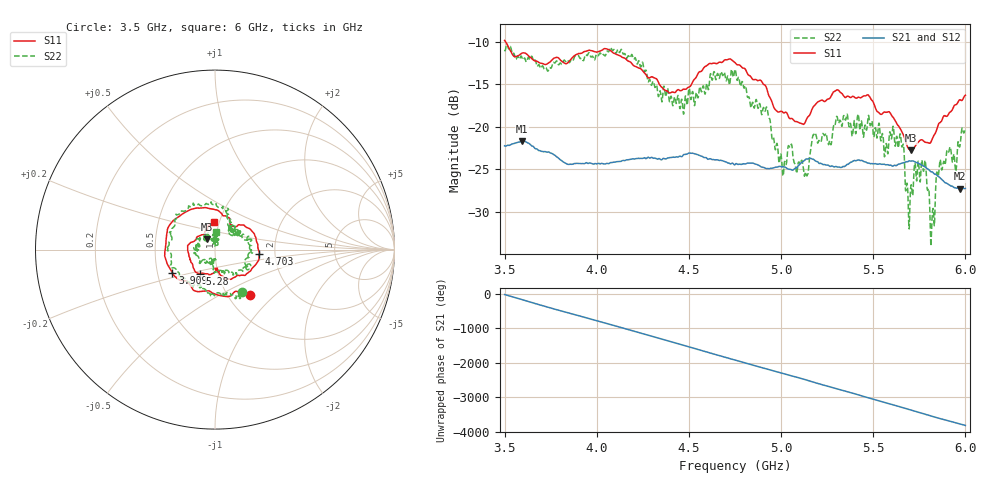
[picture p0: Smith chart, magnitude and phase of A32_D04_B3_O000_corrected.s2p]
! Created with skrf 1.9.0 (http://scikit-rf.org).
# Hz S RI R 50.0
!freq ReS11 ImS11 ReS21 ImS21 ReS12 ImS12 ReS22 ImS22
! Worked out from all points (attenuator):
!   1601 points, 3.5 GHz to 6 GHz, reference 50 ohm
!   highest |S21| = -21.67 dB at 3.595 GHz (marker M1); lowest = -27.3 dB at 5.97 GHz (marker M2)
!   lowest |S11| = -22.8 dB at 5.706 GHz (marker M3), VSWR 1.16, Z = 45.3 + j5.15 ohm
!   |S11| at or under -10 dB: 3.506 GHz to end of sweep
!   |S22| runs from -34.0 to -10.3 dB; largest |S21 - S12| = 0.001
!   S11 on the Smith chart (normalised r, x): 3.5 GHz: 1.26, -0.72; 3.909 GHz: 0.60, -0.17; 4.703 GHz: 1.65, -0.09; 5.28 GHz: 0.82, -0.22; 6 GHz: 0.95, +0.30
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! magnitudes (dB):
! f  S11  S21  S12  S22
! 3.5 GHz  -9.8  -22.2  -22.2  -11.0
! 3.595 GHz  -11.3  -21.7  -21.6  -11.9
! 3.909 GHz  -11.4  -24.3  -24.3  -12.0
! 3.917 GHz  -11.3  -24.3  -24.3  -11.9
! 4.127 GHz  -11.7  -24.1  -24.0  -11.1
! 4.334 GHz  -14.8  -23.8  -23.7  -16.4
! 4.703 GHz  -12.1  -24.1  -24.1  -14.6
! 4.75 GHz  -12.4  -24.4  -24.4  -13.3
! 4.927 GHz  -15.8  -24.9  -24.9  -18.1
! 5.016 GHz  -18.3  -24.7  -24.6  -24.8
! 5.136 GHz  -19.2  -23.8  -23.7  -25.5
! 5.167 GHz  -17.9  -23.8  -23.7  -21.6
! 5.28 GHz  -16.0  -24.6  -24.5  -20.6
! 5.584 GHz  -18.2  -24.5  -24.4  -21.7
! 5.655 GHz  -20.5  -24.3  -24.2  -22.3
! 5.686 GHz  -22.4  -24.1  -24.1  -27.1
! 5.706 GHz  -22.8  -24.0  -23.9  -26.8
! 5.773 GHz  -21.7  -24.6  -24.5  -25.2
! 5.822 GHz  -21.3  -25.3  -25.3  -29.8
! 5.855 GHz  -19.6  -25.8  -25.8  -25.5
! 5.97 GHz  -16.8  -27.3  -27.2  -22.3
! 6 GHz  -16.3  -27.2  -27.2  -20.2
